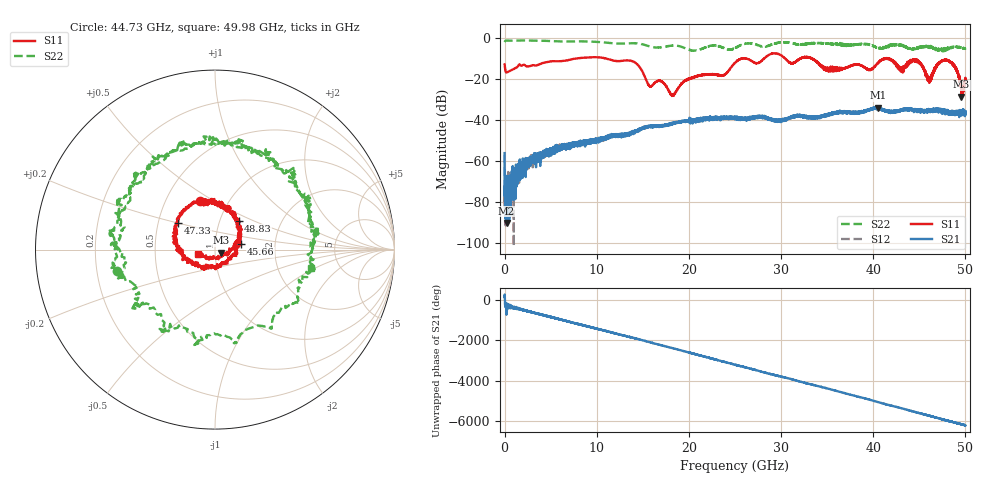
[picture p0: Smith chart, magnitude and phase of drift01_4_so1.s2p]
!Created with skrf (http://scikit-rf.org).
# Hz S RI R 50.0
!freq ReS11 ImS11 ReS21 ImS21 ReS12 ImS12 ReS22 ImS22
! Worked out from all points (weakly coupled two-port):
!   10001 points, 300 kHz to 50 GHz, reference 50 ohm
!   highest |S21| = -34.09 dB at 40.48 GHz (marker M1); lowest = -90.4 dB at 220.3 MHz (marker M2)
!   lowest |S11| = -28.8 dB at 49.58 GHz (marker M3), VSWR 1.07, Z = 53.3 - j1.76 ohm
!   |S11| at or under -10 dB: 10.83 GHz to 25.83 GHz (15.01 GHz wide, 81.9 % of centre); 33.27 GHz to 41.4 GHz (8.135 GHz wide, 21.8 % of centre); 41.6 GHz to end of sweep (the widest 3 of 16)
!   |S22| runs from -6.6 to -1.4 dB; largest |S21 - S12| = 0.0041
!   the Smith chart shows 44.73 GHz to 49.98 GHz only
!   S11 on the Smith chart (normalised r, x): 44.73 GHz: 0.74, +0.44; 45.66 GHz: 1.34, +0.09; 47.33 GHz: 0.63, +0.20; 48.83 GHz: 1.23, +0.41; 49.98 GHz: 0.83, -0.04
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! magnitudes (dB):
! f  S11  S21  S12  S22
! 300 kHz  -13.0  -56.3  -57.1  -2.1
! 220.3 MHz  -16.9  -90.4  -73.4  -1.4
! 3.095 GHz  -13.4  -58.8  -59.1  -1.4
! 8.335 GHz  -9.9  -50.4  -51.3  -1.8
! 13.78 GHz  -11.3  -47.0  -46.0  -2.7
! 15.72 GHz  -23.6  -43.1  -43.3  -4.3
! 16.67 GHz  -21.1  -43.0  -43.1  -4.8
! 18.26 GHz  -28.0  -41.8  -41.7  -3.9
! 25 GHz  -12.2  -39.8  -39.4  -5.1
! 33.34 GHz  -10.2  -38.9  -39.2  -2.7
! 35.09 GHz  -15.3  -37.1  -37.5  -2.8
! 40.48 GHz  -12.6  -34.1  -34.4  -5.0
! 41.67 GHz  -10.5  -35.6  -35.8  -4.3
! 43.07 GHz  -15.0  -35.2  -35.2  -3.6
! 44.73 GHz  -10.9  -35.6  -35.7  -5.1
! 45.66 GHz  -16.5  -35.5  -35.8  -4.5
! 46.14 GHz  -19.8  -35.3  -35.3  -4.4
! 47.33 GHz  -11.9  -36.2  -36.0  -6.5
! 48.83 GHz  -13.7  -36.8  -37.4  -4.6
! 49.58 GHz  -28.8  -36.6  -36.5  -4.9
! 49.98 GHz  -20.5  -35.8  -36.8  -5.3
! 50 GHz  -20.1  -35.9  -36.4  -5.4
